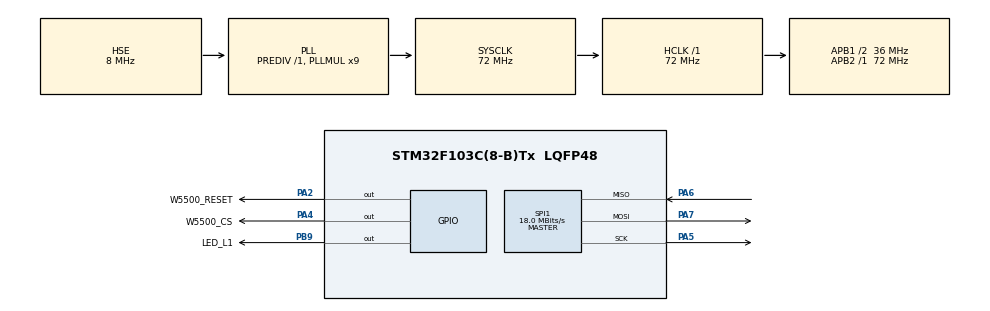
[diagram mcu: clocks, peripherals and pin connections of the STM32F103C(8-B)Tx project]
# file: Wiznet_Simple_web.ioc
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Mcu.Family=STM32F1
Mcu.Name=STM32F103C(8-B)Tx
Mcu.Package=LQFP48
NVIC.PriorityGroup=NVIC_PRIORITYGROUP_4
PA13.Mode=Serial_Wire
PA13.Signal=SYS_JTMS-SWDIO
PA14.Mode=Serial_Wire
PA14.Signal=SYS_JTCK-SWCLK
PA2.GPIO_Label=W5500_RESET
PA2.Signal=GPIO_Output
PA4.GPIO_Label=W5500_CS
PA4.Signal=GPIO_Output
PA5.Mode=Full_Duplex_Master
PA5.Signal=SPI1_SCK
PA6.Mode=Full_Duplex_Master
PA6.Signal=SPI1_MISO
PA7.Mode=Full_Duplex_Master
PA7.Signal=SPI1_MOSI
PB9.GPIO_Label=LED_L1
PB9.Signal=GPIO_Output
PD0-OSC_IN.Mode=HSE-External-Oscillator
PD0-OSC_IN.Signal=RCC_OSC_IN
PD1-OSC_OUT.Mode=HSE-External-Oscillator
PD1-OSC_OUT.Signal=RCC_OSC_OUT
ProjectManager.HeapSize=0x200
ProjectManager.StackSize=0x400
ProjectManager.TargetToolchain=STM32CubeIDE
RCC.AHBFreq_Value=72000000
RCC.APB1CLKDivider=RCC_HCLK_DIV2
RCC.APB1Freq_Value=36000000
RCC.APB1TimFreq_Value=72000000
RCC.APB2Freq_Value=72000000
RCC.APB2TimFreq_Value=72000000
RCC.HCLKFreq_Value=72000000
RCC.PLLMUL=RCC_PLL_MUL9
RCC.PLLSourceVirtual=RCC_PLLSOURCE_HSE
RCC.SYSCLKFreq_VALUE=72000000
RCC.SYSCLKSource=RCC_SYSCLKSOURCE_PLLCLK
RCC.USBFreq_Value=48000000
RCC.USBPrescaler=RCC_USBCLKSOURCE_PLL_DIV1_5
SPI1.BaudRatePrescaler=SPI_BAUDRATEPRESCALER_4
SPI1.CalculateBaudRate=18.0 MBits/s
SPI1.Direction=SPI_DIRECTION_2LINES
SPI1.Mode=SPI_MODE_MASTER
SPI1.VirtualType=VM_MASTER
board=custom

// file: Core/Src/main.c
/* USER CODE BEGIN Header */
/**
  ******************************************************************************
  * @file           : main.c
  * @brief          : Main program body
  ******************************************************************************
  * @attention
  *
  * Copyright (c) 2025 STMicroelectronics.
  * All rights reserved.
  *
  * This software is licensed under terms that can be found in the LICENSE file
  * in the root directory of this software component.
  * If no LICENSE file comes with this software, it is provided AS-IS.
  *
  ******************************************************************************
  */
/* USER CODE END Header */
#include "main.h"

SPI_HandleTypeDef hspi1;

/* USER CODE BEGIN PV */
char recvBuffer[128];// Data holder
wiz_NetInfo netInfo = { .mac = { 0x00, 0x08, 0xdc, 0xab, 0xcd, 0xef }, .ip = {
	  		192, 168, 0, 14 }, .sn = { 255, 255, 255, 0 }, .gw = { 192, 168, 0, 1 },
	  		.dns = { 8, 8, 8, 8 }, .dhcp = NETINFO_STATIC };
/* USER CODE END PV */

void SystemClock_Config(void);
static void MX_GPIO_Init(void);
static void MX_SPI1_Init(void);

int main(void)
{

  /* MCU Configuration--------------------------------------------------------*/

  /* Reset of all peripherals, Initializes the Flash interface and the Systick. */
  HAL_Init();

  /* Configure the system clock */
  SystemClock_Config();

  /* Initialize all configured peripherals */
  MX_GPIO_Init();
  MX_SPI1_Init();
  /* USER CODE BEGIN 2 */
  W5500Init();

  /* USER CODE END 2 */

  /* Infinite loop */
  /* USER CODE BEGIN WHILE */
  while (1)
  {
	  	if (socket(0, Sn_MR_TCP, SERVER_PORT, 0) == 0) {
	  	        if (listen(0) == SOCK_OK) {
	  	            while (1) {
	  	                if (getSn_SR(0) == SOCK_ESTABLISHED) {

	  	                	// Send Data to PC
	  	                    const char* message1 = "Hello World\r\n";
	  	                    send(0, (uint8_t*)message1, strlen(message1));
	  	                    HAL_Delay(100);

	  	                    // Checking whether Data received or not
	  	                    memset(recvBuffer, 0, sizeof(recvBuffer));
	  	                    if (getSn_RX_RSR(0) > 0) {
	  	                        recv(0, (uint8_t*)recvBuffer, getSn_RX_RSR(0));
	  	                    }

	  	                    // Receive Data from PC and confirm the received Data by sending another message to PC
	  	                    if (strncmp(recvBuffer, "Hello", 5) == 0) {
	  	                        const char* message2 = "Received\r\n";
	  	                        send(0, (uint8_t*)message2, strlen(message2));
	  	                        HAL_GPIO_TogglePin(LED_L1_GPIO_Port, LED_L1_Pin);
	  	                    }
	  	                }

	  	                if (!(getPHYCFGR() & PHYCFGR_LNK_ON)) {
	  	                    break;
	  	                }

	  	                if (getSn_SR(0) == SOCK_CLOSE_WAIT || getSn_SR(0) == SOCK_CLOSED) {
	  	                    disconnect(0);
	  	                    closesock(0);
	  	                    if (listen(0) != SOCK_OK) {
	  	                        break;
	  	                    }
	  	                }
	  	            }
	  	        }
	  	    }
    /* USER CODE END WHILE */

  }
}

void SystemClock_Config(void)
{
  RCC_OscInitTypeDef RCC_OscInitStruct = {0};
  RCC_ClkInitTypeDef RCC_ClkInitStruct = {0};

  /** Initializes the RCC Oscillators according to the specified parameters
  * in the RCC_OscInitTypeDef structure.
  */
  RCC_OscInitStruct.OscillatorType = RCC_OSCILLATORTYPE_HSE;
  RCC_OscInitStruct.HSEState = RCC_HSE_ON;
  RCC_OscInitStruct.HSEPredivValue = RCC_HSE_PREDIV_DIV1;
  RCC_OscInitStruct.HSIState = RCC_HSI_ON;
  RCC_OscInitStruct.PLL.PLLState = RCC_PLL_ON;
  RCC_OscInitStruct.PLL.PLLSource = RCC_PLLSOURCE_HSE;
  RCC_OscInitStruct.PLL.PLLMUL = RCC_PLL_MUL9;
  if (HAL_RCC_OscConfig(&RCC_OscInitStruct) != HAL_OK)
  {
    Error_Handler();
  }

  /** Initializes the CPU, AHB and APB buses clocks
  */
  RCC_ClkInitStruct.ClockType = RCC_CLOCKTYPE_HCLK|RCC_CLOCKTYPE_SYSCLK
                              |RCC_CLOCKTYPE_PCLK1|RCC_CLOCKTYPE_PCLK2;
  RCC_ClkInitStruct.SYSCLKSource = RCC_SYSCLKSOURCE_PLLCLK;
  RCC_ClkInitStruct.AHBCLKDivider = RCC_SYSCLK_DIV1;
  RCC_ClkInitStruct.APB1CLKDivider = RCC_HCLK_DIV2;
  RCC_ClkInitStruct.APB2CLKDivider = RCC_HCLK_DIV1;

  if (HAL_RCC_ClockConfig(&RCC_ClkInitStruct, FLASH_LATENCY_2) != HAL_OK)
  {
    Error_Handler();
  }
}

static void MX_SPI1_Init(void)
{

  /* SPI1 parameter configuration*/
  hspi1.Instance = SPI1;
  hspi1.Init.Mode = SPI_MODE_MASTER;
  hspi1.Init.Direction = SPI_DIRECTION_2LINES;
  hspi1.Init.DataSize = SPI_DATASIZE_8BIT;
  hspi1.Init.CLKPolarity = SPI_POLARITY_LOW;
  hspi1.Init.CLKPhase = SPI_PHASE_1EDGE;
  hspi1.Init.NSS = SPI_NSS_SOFT;
  hspi1.Init.BaudRatePrescaler = SPI_BAUDRATEPRESCALER_4;
  hspi1.Init.FirstBit = SPI_FIRSTBIT_MSB;
  hspi1.Init.TIMode = SPI_TIMODE_DISABLE;
  hspi1.Init.CRCCalculation = SPI_CRCCALCULATION_DISABLE;
  hspi1.Init.CRCPolynomial = 10;
  if (HAL_SPI_Init(&hspi1) != HAL_OK)
  {
    Error_Handler();
  }

}

static void MX_GPIO_Init(void)
{
  GPIO_InitTypeDef GPIO_InitStruct = {0};

  /* GPIO Ports Clock Enable */
  __HAL_RCC_GPIOD_CLK_ENABLE();
  __HAL_RCC_GPIOA_CLK_ENABLE();
  __HAL_RCC_GPIOB_CLK_ENABLE();

  /*Configure GPIO pin Output Level */
  HAL_GPIO_WritePin(GPIOA, W5500_RESET_Pin|W5500_CS_Pin, GPIO_PIN_RESET);

  /*Configure GPIO pin Output Level */
  HAL_GPIO_WritePin(LED_L1_GPIO_Port, LED_L1_Pin, GPIO_PIN_RESET);

  /*Configure GPIO pins : W5500_RESET_Pin W5500_CS_Pin */
  GPIO_InitStruct.Pin = W5500_RESET_Pin|W5500_CS_Pin;
  GPIO_InitStruct.Mode = GPIO_MODE_OUTPUT_PP;
  GPIO_InitStruct.Pull = GPIO_NOPULL;
  GPIO_InitStruct.Speed = GPIO_SPEED_FREQ_LOW;
  HAL_GPIO_Init(GPIOA, &GPIO_InitStruct);

  /*Configure GPIO pin : LED_L1_Pin */
  GPIO_InitStruct.Pin = LED_L1_Pin;
  GPIO_InitStruct.Mode = GPIO_MODE_OUTPUT_PP;
  GPIO_InitStruct.Pull = GPIO_NOPULL;
  GPIO_InitStruct.Speed = GPIO_SPEED_FREQ_LOW;
  HAL_GPIO_Init(LED_L1_GPIO_Port, &GPIO_InitStruct);

}

void Error_Handler(void)
{
  __disable_irq();
  while (1)
  {
  }
}
